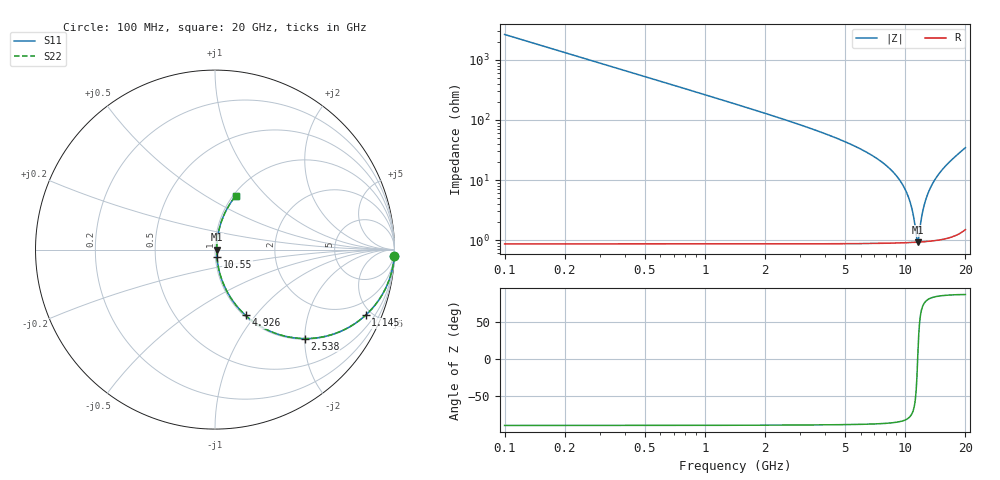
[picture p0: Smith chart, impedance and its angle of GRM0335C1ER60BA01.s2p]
!Murata Part Number: GRM0335C1ER60BA01
!These Parameters are Measured in Series Mode Connection
!Data Generated on Mar 30, 2021
!  o--ll--o
!Port1  Port2
!  o------o
!Operation Temp=25[degC], DC Bias Voltage=0[V]
!Freq. Start=100[MHz] Stop=20[GHz] 401[Steps]
# Hz S RI R 50
!Freq.(Hz) S11(Real) S11(Imag) S21(Real) S21(Imag) S12(Real) S12(Imag) S22(Real) S22(Imag)
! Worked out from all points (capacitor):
!   401 points, 100 MHz to 20 GHz, reference 50 ohm
!   read as one part in series: C = 600 fF near 199.5 MHz
!   lowest |Z| = 923 mohm at 11.54 GHz (marker M1)
!   series resonance near 11.55 GHz, so ESL is about 320 pH
!   S11 on the Smith chart (normalised r, x): 100 MHz: 1, -53; 1.145 GHz: 1.02, -4.59; 2.538 GHz: 1.02, -1.99; 4.926 GHz: 1.02, -0.89; 10.55 GHz: 1.02, -0.09; 20 GHz: 1.03, +0.69
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1e8  0.9986 -0.0376  0.00143 0.0376  0.00143 0.0376  0.9986 -0.0376
2.99e8  0.9873 -0.1114  0.0127 0.1114  0.0127 0.1114  0.9873 -0.1114
4.98e8  0.9656 -0.1815  0.0344 0.1815  0.0344 0.1815  0.9656 -0.1815
7.965e8  0.916 -0.2761  0.084 0.2761  0.084 0.2761  0.916 -0.2761
1.14475e9  0.8396 -0.3651  0.1604 0.3651  0.1604 0.3651  0.8396 -0.3651
1.7915e9  0.6757 -0.4651  0.3243 0.4651  0.3243 0.4651  0.6757 -0.4651
2.53775e9  0.4987 -0.4957  0.5013 0.4957  0.5013 0.4957  0.4987 -0.4957
3.43325e9  0.3356 -0.4661  0.6644 0.4661  0.6644 0.4661  0.3356 -0.4661
4.92575e9  0.17 -0.366  0.83 0.366  0.83 0.366  0.17 -0.366
6.7665e9  0.0715 -0.2415  0.9285 0.2415  0.9285 0.2415  0.0715 -0.2415
8.7565e9  0.0258 -0.1285  0.9742 0.1285  0.9742 0.1285  0.0258 -0.1285
1.005e10  0.0133 -0.0656  0.9867 0.0656  0.9867 0.0656  0.0133 -0.0656
1.05475e10  0.0109 -0.0431  0.9891 0.0431  0.9891 0.0431  0.0109 -0.0431
1.09455e10  0.00972 -0.0257  0.9903 0.0257  0.9903 0.0257  0.00972 -0.0257
1.15425e10  0.00914 -0.000457  0.9909 0.000457  0.9909 0.000457  0.00914 -0.000457
1.1642e10  0.00917 0.00365  0.9908 -0.00365  0.9908 -0.00365  0.00917 0.00365
1.204e10  0.00962 0.0198  0.9904 -0.0198  0.9904 -0.0198  0.00962 0.0198
1.238825e10  0.0104 0.0337  0.9896 -0.0337  0.9896 -0.0337  0.0104 0.0337
1.338325e10  0.0147 0.0719  0.9852 -0.0719  0.9852 -0.0719  0.0147 0.0719
1.477625e10  0.0254 0.1228  0.9746 -0.1228  0.9746 -0.1228  0.0254 0.1228
1.67165e10  0.0488 0.1901  0.9512 -0.1901  0.9512 -0.1901  0.0488 0.1901
2e10  0.117 0.3006  0.883 -0.3006  0.883 -0.3006  0.117 0.3006
